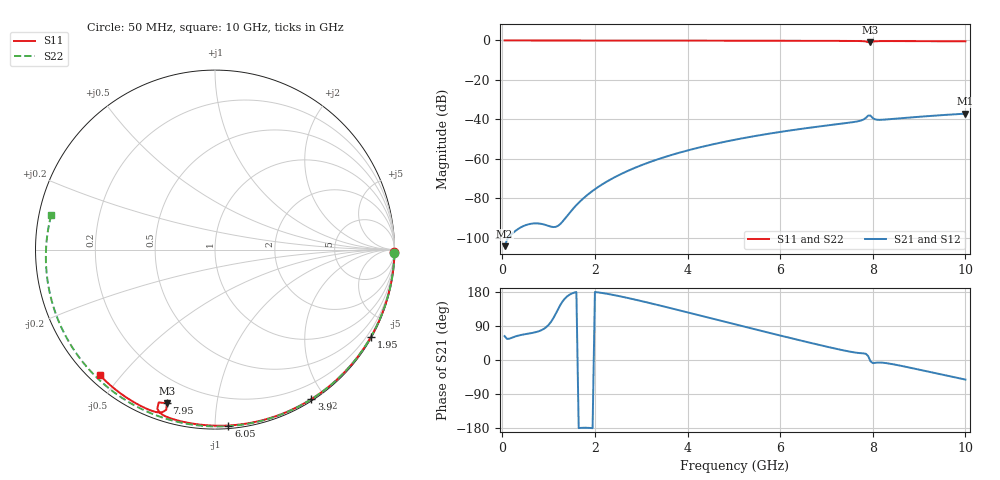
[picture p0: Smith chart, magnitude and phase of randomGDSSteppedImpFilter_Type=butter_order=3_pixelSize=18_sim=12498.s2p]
! freq	dB(S11)	phase(S11)	dB(S12)	phase(S12)
!  dB(S21)	phase(S21)	dB(S22)	phase(S22)
!S-par simulation data
#  GHz  S  DB  R 50
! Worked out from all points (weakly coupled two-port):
!   200 points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, 50 MHz to 10 GHz, reference 50 ohm
!   highest |S21| = -37.09 dB at 10 GHz (marker M1); lowest = -104.3 dB at 50 MHz (marker M2)
!   lowest |S11| = -0.9 dB at 7.95 GHz (marker M3), VSWR 18.46, Z = 4.16 - j36.6 ohm
!   |S11| at or under -10 dB: nowhere
!   |S22| runs from -0.6 to 0.0 dB; largest |S21 - S12| = 0
!   S11 on the Smith chart (normalised r, x): 50 MHz: open; 1.95 GHz: 0.03, -3.82; 3.9 GHz: 0.02, -1.83; 6.05 GHz: 0.02, -1.08; 7.95 GHz: 0.08, -0.73; 10 GHz: 0.03, -0.44
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0.05  -0.00 -0.8  -104.26 63.1  -104.26 63.1  -0.00 -1.1
0.85  -0.01 -12.9  -92.99 79.0  -92.99 79.0  -0.02 -18.6
1.75  -0.03 -26.4  -80.04 -178.8  -80.04 -178.8  -0.05 -37.8
1.95  -0.04 -29.3  -76.24 -179.9  -76.24 -179.9  -0.05 -42.0
2.25  -0.04 -33.7  -71.62 175.0  -71.62 175.0  -0.06 -48.2
2.6  -0.05 -38.8  -67.29 166.6  -67.29 166.6  -0.07 -55.4
3  -0.06 -44.6  -63.26 155.6  -63.26 155.6  -0.08 -63.4
3.4  -0.07 -50.2  -59.90 143.9  -59.90 143.9  -0.09 -71.3
3.9  -0.08 -57.2  -56.39 128.8  -56.39 128.8  -0.11 -81.0
4.45  -0.09 -64.7  -53.15 111.9  -53.15 111.9  -0.13 -91.3
5.05  -0.11 -72.7  -50.19 93.4  -50.19 93.4  -0.16 -102.4
6.05  -0.15 -85.7  -46.18 63.1  -46.18 63.1  -0.21 -120.3
6.7  -0.18 -93.9  -44.03 43.9  -44.03 43.9  -0.26 -131.7
7.65  -0.27 -106.2  -41.10 19.2  -41.10 19.2  -0.33 -148.3
7.75  -0.31 -107.8  -40.54 17.9  -40.54 17.9  -0.34 -150.1
7.85  -0.51 -109.9  -39.27 16.4  -39.27 16.4  -0.35 -151.9
7.9  -0.84 -110.2  -38.08 10.5  -38.08 10.5  -0.36 -152.7
7.95  -0.94 -107.4  -38.07 -3.2  -38.07 -3.2  -0.36 -153.6
8.05  -0.43 -107.9  -40.00 -7.6  -40.00 -7.6  -0.37 -155.4
8.35  -0.31 -112.7  -39.94 -9.3  -39.94 -9.3  -0.40 -160.8
9.2  -0.37 -123.1  -38.33 -30.7  -38.33 -30.7  -0.50 -176.4
10  -0.45 -132.6  -37.09 -51.7  -37.09 -51.7  -0.60 168.1
